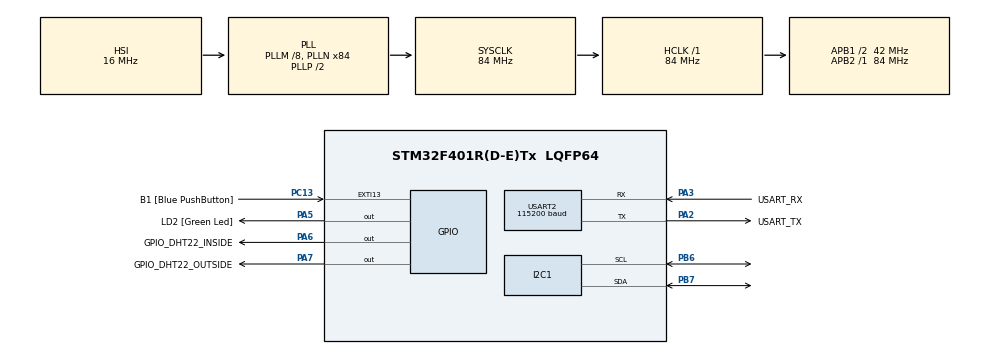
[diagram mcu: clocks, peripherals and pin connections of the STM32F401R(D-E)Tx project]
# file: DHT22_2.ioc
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FREERTOS.Tasks01=measureInsideT,-2,1024,measureInside,Default,NULL,Static,measureInsideTBuffer,measureInsideTControlBlock;measureOutsideT,-2,1024,measureOutside,Default,NULL,Static,measureOutsideTBuffer,measureOutsideTControlBlock;calculateResult,-3,1024,calculateResults,Default,NULL,Static,calculateResultBuffer,calculateResultControlBlock
FREERTOS.configCHECK_FOR_STACK_OVERFLOW=2
FREERTOS.configENABLE_FPU=1
FREERTOS.configUSE_NEWLIB_REENTRANT=1
Mcu.Family=STM32F4
Mcu.Name=STM32F401R(D-E)Tx
Mcu.Package=LQFP64
NVIC.PriorityGroup=NVIC_PRIORITYGROUP_4
NVIC.TIM1_UP_TIM10_IRQn=true\:15\:0\:false\:false\:true\:false\:false\:true\:true
NVIC.TimeBase=TIM1_UP_TIM10_IRQn
NVIC.TimeBaseIP=TIM10
PA13.GPIO_Label=TMS
PA13.Mode=Serial_Wire
PA13.Signal=SYS_JTMS-SWDIO
PA14.GPIO_Label=TCK
PA14.Mode=Serial_Wire
PA14.Signal=SYS_JTCK-SWCLK
PA2.GPIO_Label=USART_TX
PA2.GPIO_Mode=GPIO_MODE_AF_PP
PA2.GPIO_PuPd=GPIO_NOPULL
PA2.GPIO_Speed=GPIO_SPEED_FREQ_LOW
PA2.Mode=Asynchronous
PA2.Signal=USART2_TX
PA3.GPIO_Label=USART_RX
PA3.GPIO_Mode=GPIO_MODE_AF_PP
PA3.GPIO_PuPd=GPIO_NOPULL
PA3.GPIO_Speed=GPIO_SPEED_FREQ_LOW
PA3.Mode=Asynchronous
PA3.Signal=USART2_RX
PA5.GPIO_Label=LD2 [Green Led]
PA5.GPIO_Mode=GPIO_MODE_OUTPUT_PP
PA5.GPIO_PuPd=GPIO_NOPULL
PA5.GPIO_Speed=GPIO_SPEED_FREQ_LOW
PA5.Signal=GPIO_Output
PA6.GPIO_Label=GPIO_DHT22_INSIDE
PA6.Signal=GPIO_Output
PA7.GPIO_Label=GPIO_DHT22_OUTSIDE
PA7.Signal=GPIO_Output
PB3.GPIO_Label=SWO
PB3.Signal=SYS_JTDO-SWO
PB6.Mode=I2C
PB6.Signal=I2C1_SCL
PB7.Mode=I2C
PB7.Signal=I2C1_SDA
PC13-ANTI_TAMP.GPIO_Label=B1 [Blue PushButton]
PC13-ANTI_TAMP.GPIO_ModeDefaultEXTI=GPIO_MODE_IT_FALLING
PC13-ANTI_TAMP.GPIO_PuPd=GPIO_NOPULL
PC13-ANTI_TAMP.Signal=GPXTI13
PC14-OSC32_IN.Signal=RCC_OSC32_IN
PC15-OSC32_OUT.Signal=RCC_OSC32_OUT
PH0\ -\ OSC_IN.Mode=HSE-External-Oscillator
PH0\ -\ OSC_IN.Signal=RCC_OSC_IN
PH1\ -\ OSC_OUT.Mode=HSE-External-Oscillator
PH1\ -\ OSC_OUT.Signal=RCC_OSC_OUT
ProjectManager.HeapSize=0x200
ProjectManager.StackSize=0x400
ProjectManager.TargetToolchain=STM32CubeIDE
RCC.48MHZClocksFreq_Value=24000000
RCC.AHBFreq_Value=84000000
RCC.APB1CLKDivider=RCC_HCLK_DIV2
RCC.APB1Freq_Value=42000000
RCC.APB1TimFreq_Value=84000000
RCC.APB2Freq_Value=84000000
RCC.APB2TimFreq_Value=84000000
RCC.CortexFreq_Value=84000000
RCC.HCLKFreq_Value=84000000
RCC.HSE_VALUE=8000000
RCC.HSI_VALUE=16000000
RCC.LSE_VALUE=32768
RCC.PLLM=8
RCC.PLLN=84
RCC.PLLQ=7
RCC.SYSCLKFreq_VALUE=84000000
RCC.SYSCLKSource=RCC_SYSCLKSOURCE_PLLCLK
RCC.VCOOutputFreq_Value=168000000
TIM1.Prescaler=71
TIM3.Prescaler=71
USART2.BaudRate=115200
USART2.VirtualMode=VM_ASYNC
VP_FREERTOS_VS_CMSIS_V1.Mode=CMSIS_V1
VP_SYS_VS_tim10.Mode=TIM10
VP_TIM1_VS_ClockSourceINT.Mode=Internal
VP_TIM3_VS_ClockSourceINT.Mode=Internal
board=NUCLEO-F401RE

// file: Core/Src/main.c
/* USER CODE BEGIN Header */
/**
  ******************************************************************************
  * @file           : main.c
  * @brief          : Main program body
  ******************************************************************************
  * @attention
  *
  * Copyright (c) 2023 STMicroelectronics.
  * All rights reserved.
  *
  * This software is licensed under terms that can be found in the LICENSE file
  * in the root directory of this software component.
  * If no LICENSE file comes with this software, it is provided AS-IS.
  *
  ******************************************************************************
  */
/* USER CODE END Header */
#include "main.h"
#include "cmsis_os.h"

/* USER CODE BEGIN Includes */

#include <stdio.h>
#include "main_tasks.h"

/* USER CODE END Includes */

/* USER CODE BEGIN PTD */
#ifdef __GNUC__
# define PUTCHAR_PROTOTYPE int __io_putchar(int ch)
#else
# define PUTCHAR_PROTOTYPE int fputc( int ch, FILE *f)
#endif
/* USER CODE END PTD */

/* USER CODE BEGIN PD */

#define DHT22_PORT GPIOA
#define DHT22_PIN GPIO_PIN_1

/* USER CODE END PD */

I2C_HandleTypeDef hi2c1;

TIM_HandleTypeDef htim1;
TIM_HandleTypeDef htim3;

UART_HandleTypeDef huart2;

osThreadId measureInsideTHandle;
uint32_t measureInsideTBuffer[ 1024 ];
osStaticThreadDef_t measureInsideTControlBlock;
osThreadId measureOutsideTHandle;
uint32_t measureOutsideTBuffer[ 1024 ];
osStaticThreadDef_t measureOutsideTControlBlock;
osThreadId calculateResultHandle;
uint32_t calculateResultBuffer[ 1024 ];
osStaticThreadDef_t calculateResultControlBlock;

void SystemClock_Config(void);
static void MX_GPIO_Init(void);
static void MX_USART2_UART_Init(void);
static void MX_TIM1_Init(void);
static void MX_I2C1_Init(void);
static void MX_TIM3_Init(void);
void measureInside(void const * argument);
void measureOutside(void const * argument);
void calculateResults(void const * argument);

int main(void)
{

  /* MCU Configuration--------------------------------------------------------*/

  /* Reset of all peripherals, Initializes the Flash interface and the Systick. */
  HAL_Init();

  /* Configure the system clock */
  SystemClock_Config();

  /* Initialize all configured peripherals */
  MX_GPIO_Init();
  MX_USART2_UART_Init();
  MX_TIM1_Init();
  MX_I2C1_Init();
  MX_TIM3_Init();
  /* USER CODE BEGIN 2 */

  HAL_TIM_Base_Start(&htim1);
  HAL_TIM_Base_Start(&htim3);

  /* USER CODE END 2 */

  /* Create the thread(s) */
  /* definition and creation of measureInsideT */
  osThreadStaticDef(measureInsideT, measureInside, osPriorityLow, 0, 1024, measureInsideTBuffer, &measureInsideTControlBlock);
  measureInsideTHandle = osThreadCreate(osThread(measureInsideT), NULL);

  /* definition and creation of measureOutsideT */
  osThreadStaticDef(measureOutsideT, measureOutside, osPriorityLow, 0, 1024, measureOutsideTBuffer, &measureOutsideTControlBlock);
  measureOutsideTHandle = osThreadCreate(osThread(measureOutsideT), NULL);

  /* definition and creation of calculateResult */
  osThreadStaticDef(calculateResult, calculateResults, osPriorityIdle, 0, 1024, calculateResultBuffer, &calculateResultControlBlock);
  calculateResultHandle = osThreadCreate(osThread(calculateResult), NULL);

  /* Start scheduler */
  osKernelStart();
  /* We should never get here as control is now taken by the scheduler */
  /* Infinite loop */
  while (1)
  {

  }
}

void SystemClock_Config(void)
{
  RCC_OscInitTypeDef RCC_OscInitStruct = {0};
  RCC_ClkInitTypeDef RCC_ClkInitStruct = {0};

  /** Configure the main internal regulator output voltage
  */
  __HAL_RCC_PWR_CLK_ENABLE();
  __HAL_PWR_VOLTAGESCALING_CONFIG(PWR_REGULATOR_VOLTAGE_SCALE2);

  /** Initializes the RCC Oscillators according to the specified parameters
  * in the RCC_OscInitTypeDef structure.
  */
  RCC_OscInitStruct.OscillatorType = RCC_OSCILLATORTYPE_HSI;
  RCC_OscInitStruct.HSIState = RCC_HSI_ON;
  RCC_OscInitStruct.HSICalibrationValue = RCC_HSICALIBRATION_DEFAULT;
  RCC_OscInitStruct.PLL.PLLState = RCC_PLL_ON;
  RCC_OscInitStruct.PLL.PLLSource = RCC_PLLSOURCE_HSI;
  RCC_OscInitStruct.PLL.PLLM = 8;
  RCC_OscInitStruct.PLL.PLLN = 84;
  RCC_OscInitStruct.PLL.PLLP = RCC_PLLP_DIV2;
  RCC_OscInitStruct.PLL.PLLQ = 7;
  if (HAL_RCC_OscConfig(&RCC_OscInitStruct) != HAL_OK)
  {
    Error_Handler();
  }

  /** Initializes the CPU, AHB and APB buses clocks
  */
  RCC_ClkInitStruct.ClockType = RCC_CLOCKTYPE_HCLK|RCC_CLOCKTYPE_SYSCLK
                              |RCC_CLOCKTYPE_PCLK1|RCC_CLOCKTYPE_PCLK2;
  RCC_ClkInitStruct.SYSCLKSource = RCC_SYSCLKSOURCE_PLLCLK;
  RCC_ClkInitStruct.AHBCLKDivider = RCC_SYSCLK_DIV1;
  RCC_ClkInitStruct.APB1CLKDivider = RCC_HCLK_DIV2;
  RCC_ClkInitStruct.APB2CLKDivider = RCC_HCLK_DIV1;

  if (HAL_RCC_ClockConfig(&RCC_ClkInitStruct, FLASH_LATENCY_2) != HAL_OK)
  {
    Error_Handler();
  }
}

static void MX_I2C1_Init(void)
{

  hi2c1.Instance = I2C1;
  hi2c1.Init.ClockSpeed = 100000;
  hi2c1.Init.DutyCycle = I2C_DUTYCYCLE_2;
  hi2c1.Init.OwnAddress1 = 0;
  hi2c1.Init.AddressingMode = I2C_ADDRESSINGMODE_7BIT;
  hi2c1.Init.DualAddressMode = I2C_DUALADDRESS_DISABLE;
  hi2c1.Init.OwnAddress2 = 0;
  hi2c1.Init.GeneralCallMode = I2C_GENERALCALL_DISABLE;
  hi2c1.Init.NoStretchMode = I2C_NOSTRETCH_DISABLE;
  if (HAL_I2C_Init(&hi2c1) != HAL_OK)
  {
    Error_Handler();
  }

}

static void MX_TIM1_Init(void)
{

  TIM_ClockConfigTypeDef sClockSourceConfig = {0};
  TIM_MasterConfigTypeDef sMasterConfig = {0};

  htim1.Instance = TIM1;
  htim1.Init.Prescaler = 71;
  htim1.Init.CounterMode = TIM_COUNTERMODE_UP;
  htim1.Init.Period = 65535;
  htim1.Init.ClockDivision = TIM_CLOCKDIVISION_DIV1;
  htim1.Init.RepetitionCounter = 0;
  htim1.Init.AutoReloadPreload = TIM_AUTORELOAD_PRELOAD_DISABLE;
  if (HAL_TIM_Base_Init(&htim1) != HAL_OK)
  {
    Error_Handler();
  }
  sClockSourceConfig.ClockSource = TIM_CLOCKSOURCE_INTERNAL;
  if (HAL_TIM_ConfigClockSource(&htim1, &sClockSourceConfig) != HAL_OK)
  {
    Error_Handler();
  }
  sMasterConfig.MasterOutputTrigger = TIM_TRGO_RESET;
  sMasterConfig.MasterSlaveMode = TIM_MASTERSLAVEMODE_DISABLE;
  if (HAL_TIMEx_MasterConfigSynchronization(&htim1, &sMasterConfig) != HAL_OK)
  {
    Error_Handler();
  }

}

static void MX_TIM3_Init(void)
{

  TIM_ClockConfigTypeDef sClockSourceConfig = {0};
  TIM_MasterConfigTypeDef sMasterConfig = {0};

  htim3.Instance = TIM3;
  htim3.Init.Prescaler = 71;
  htim3.Init.CounterMode = TIM_COUNTERMODE_UP;
  htim3.Init.Period = 65535;
  htim3.Init.ClockDivision = TIM_CLOCKDIVISION_DIV1;
  htim3.Init.AutoReloadPreload = TIM_AUTORELOAD_PRELOAD_DISABLE;
  if (HAL_TIM_Base_Init(&htim3) != HAL_OK)
  {
    Error_Handler();
  }
  sClockSourceConfig.ClockSource = TIM_CLOCKSOURCE_INTERNAL;
  if (HAL_TIM_ConfigClockSource(&htim3, &sClockSourceConfig) != HAL_OK)
  {
    Error_Handler();
  }
  sMasterConfig.MasterOutputTrigger = TIM_TRGO_RESET;
  sMasterConfig.MasterSlaveMode = TIM_MASTERSLAVEMODE_DISABLE;
  if (HAL_TIMEx_MasterConfigSynchronization(&htim3, &sMasterConfig) != HAL_OK)
  {
    Error_Handler();
  }

}

static void MX_USART2_UART_Init(void)
{

  huart2.Instance = USART2;
  huart2.Init.BaudRate = 115200;
  huart2.Init.WordLength = UART_WORDLENGTH_8B;
  huart2.Init.StopBits = UART_STOPBITS_1;
  huart2.Init.Parity = UART_PARITY_NONE;
  huart2.Init.Mode = UART_MODE_TX_RX;
  huart2.Init.HwFlowCtl = UART_HWCONTROL_NONE;
  huart2.Init.OverSampling = UART_OVERSAMPLING_16;
  if (HAL_UART_Init(&huart2) != HAL_OK)
  {
    Error_Handler();
  }

}

static void MX_GPIO_Init(void)
{
  GPIO_InitTypeDef GPIO_InitStruct = {0};

  /* GPIO Ports Clock Enable */
  __HAL_RCC_GPIOC_CLK_ENABLE();
  __HAL_RCC_GPIOH_CLK_ENABLE();
  __HAL_RCC_GPIOA_CLK_ENABLE();
  __HAL_RCC_GPIOB_CLK_ENABLE();

  /*Configure GPIO pin Output Level */
  HAL_GPIO_WritePin(GPIOA, LD2_Pin|GPIO_DHT22_INSIDE_Pin|GPIO_DHT22_OUTSIDE_Pin, GPIO_PIN_RESET);

  /*Configure GPIO pin : B1_Pin */
  GPIO_InitStruct.Pin = B1_Pin;
  GPIO_InitStruct.Mode = GPIO_MODE_IT_FALLING;
  GPIO_InitStruct.Pull = GPIO_NOPULL;
  HAL_GPIO_Init(B1_GPIO_Port, &GPIO_InitStruct);

  /*Configure GPIO pins : LD2_Pin GPIO_DHT22_INSIDE_Pin GPIO_DHT22_OUTSIDE_Pin */
  GPIO_InitStruct.Pin = LD2_Pin|GPIO_DHT22_INSIDE_Pin|GPIO_DHT22_OUTSIDE_Pin;
  GPIO_InitStruct.Mode = GPIO_MODE_OUTPUT_PP;
  GPIO_InitStruct.Pull = GPIO_NOPULL;
  GPIO_InitStruct.Speed = GPIO_SPEED_FREQ_LOW;
  HAL_GPIO_Init(GPIOA, &GPIO_InitStruct);

}

/* USER CODE BEGIN 4 */
PUTCHAR_PROTOTYPE
{
	HAL_UART_Transmit(&huart2, (uint8_t*)&ch, 1, HAL_MAX_DELAY);
	return ch;
}
/* USER CODE END 4 */

void measureInside(void const * argument)
{
  /* USER CODE BEGIN 5 */
  /* Infinite loop */

  measureInsideTask( &htim1 );
  /* USER CODE END 5 */
}

void measureOutside(void const * argument)
{
  /* USER CODE BEGIN measureOutside */
  /* Infinite loop */
  mesureOutsideTask( &htim3 );
  /* USER CODE END measureOutside */
}

void calculateResults(void const * argument)
{
  /* USER CODE BEGIN calculateResults */
  /* Infinite loop */
  for(;;)
  {
	  calculateResultsTask();
  }
  /* USER CODE END calculateResults */
}

void HAL_TIM_PeriodElapsedCallback(TIM_HandleTypeDef *htim)
{
  if (htim->Instance == TIM10) {
    HAL_IncTick();
  }
}

void Error_Handler(void)
{
  __disable_irq();
  while (1)
  {
  }
}
